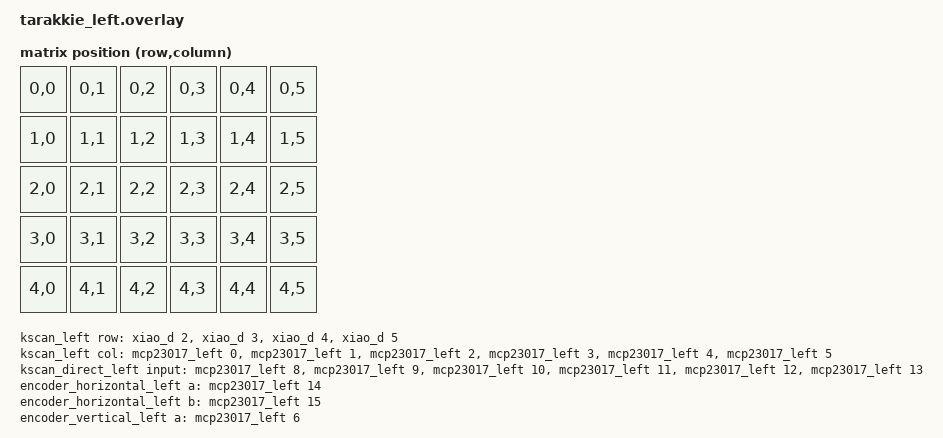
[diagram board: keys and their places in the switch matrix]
/*
 * Copyright (c) 2025
 * SPDX-License-Identifier: MIT
 *
 * Tarakkie Left (Peripheral/Slave)
 * - 30 keys (6x4 matrix + 6 individual keys)
 * - MCP23017 I2C GPIO expander
 * - Horizontal rotary encoder with click
 * - Vertical rotary encoder with click
 */

#include <dt-bindings/zmk/matrix_transform.h>
#include <dt-bindings/gpio/gpio.h>

/ {
    /* ============================================================
     * I2C GPIO Expander (MCP23017)
     * Address: 0x20
     * Usage:
     *   - GPA0~5: Matrix columns (6 columns)
     *   - GPA6~7: Vertical encoder A/B signals
     *   - GPB0~5: Individual keys (6 keys)
     *   - GPB6~7: Horizontal encoder A/B signals
     * ============================================================ */
    
    /* Enable I2C bus */
    &i2c0 {
        status = "okay";
        
        mcp23017_left: mcp23017@20 {
            compatible = "microchip,mcp230xx";
            reg = <0x20>;
            gpio-controller;
            #gpio-cells = <2>;
            ngpios = <16>;
            status = "okay";
        };
    };

    /* ============================================================
     * Key Matrix Scanner
     * - Columns: 6 (MCP23017 GPA0~5)
     * - Rows: 4 (MCU GPIO &xiao_d 2~5)
     * - Diode direction: COL2ROW
     * ============================================================ */
    
    kscan_left: kscan_left {
        compatible = "zmk,kscan-gpio-matrix";
        diode-direction = "col2row";
        wakeup-source;

        col-gpios
            = <&mcp23017_left 0 GPIO_ACTIVE_HIGH>
            , <&mcp23017_left 1 GPIO_ACTIVE_HIGH>
            , <&mcp23017_left 2 GPIO_ACTIVE_HIGH>
            , <&mcp23017_left 3 GPIO_ACTIVE_HIGH>
            , <&mcp23017_left 4 GPIO_ACTIVE_HIGH>
            , <&mcp23017_left 5 GPIO_ACTIVE_HIGH>
            ;

        row-gpios
            = <&xiao_d 2 (GPIO_ACTIVE_HIGH | GPIO_PULL_DOWN)>
            , <&xiao_d 3 (GPIO_ACTIVE_HIGH | GPIO_PULL_DOWN)>
            , <&xiao_d 4 (GPIO_ACTIVE_HIGH | GPIO_PULL_DOWN)>
            , <&xiao_d 5 (GPIO_ACTIVE_HIGH | GPIO_PULL_DOWN)>
            ;
    };

    /* ============================================================
     * Direct GPIO Keys (Individual Keys)
     * - 6 keys connected to MCP23017 GPB0~5
     * ============================================================ */
    
    kscan_direct_left: kscan_direct_left {
        compatible = "zmk,kscan-gpio-direct";
        
        input-gpios
            = <&mcp23017_left 8  (GPIO_ACTIVE_LOW | GPIO_PULL_UP)>
            , <&mcp23017_left 9  (GPIO_ACTIVE_LOW | GPIO_PULL_UP)>
            , <&mcp23017_left 10 (GPIO_ACTIVE_LOW | GPIO_PULL_UP)>
            , <&mcp23017_left 11 (GPIO_ACTIVE_LOW | GPIO_PULL_UP)>
            , <&mcp23017_left 12 (GPIO_ACTIVE_LOW | GPIO_PULL_UP)>
            , <&mcp23017_left 13 (GPIO_ACTIVE_LOW | GPIO_PULL_UP)>
            ;
    };

    /* ============================================================
     * Composite Key Scanner (Matrix + Direct)
     * Combines both matrix and direct keys into one scanner
     * ============================================================ */
    
    kscan_composite_left: kscan_composite_left {
        compatible = "zmk,kscan-composite";
        rows = <5>;
        columns = <6>;
        
        matrix {
            kscan = <&kscan_left>;
        };
        
        direct {
            kscan = <&kscan_direct_left>;
            row-offset = <4>;
            column-offset = <0>;
        };
    };

    /* ============================================================
     * Matrix Transform
     * Maps physical key positions to logical positions
     * Layout: 30 keys total
     *   - 24 matrix keys (6 cols x 4 rows)
     *   - 6 direct keys
     * ============================================================ */
    
    default_transform_left: keymap_transform_left {
        compatible = "zmk,matrix-transform";
        columns = <6>;
        rows = <5>;
        
        map = <
            RC(0,0) RC(0,1) RC(0,2) RC(0,3) RC(0,4) RC(0,5)
            RC(1,0) RC(1,1) RC(1,2) RC(1,3) RC(1,4) RC(1,5)
            RC(2,0) RC(2,1) RC(2,2) RC(2,3) RC(2,4) RC(2,5)
            RC(3,0) RC(3,1) RC(3,2) RC(3,3) RC(3,4) RC(3,5)
            RC(4,0) RC(4,1) RC(4,2) RC(4,3) RC(4,4) RC(4,5)
        >;
    };

    /* ============================================================
     * Horizontal Rotary Encoder (with click)
     * Pins:
     *   - A signal: MCP23017 GPB6
     *   - B signal: MCP23017 GPB7
     *   - Click switch: &xiao_d 6
     * ============================================================ */
    
    encoder_horizontal_left: encoder_horizontal_left {
        compatible = "alps,ec11";
        a-gpios = <&mcp23017_left 14 (GPIO_ACTIVE_HIGH | GPIO_PULL_UP)>;
        b-gpios = <&mcp23017_left 15 (GPIO_ACTIVE_HIGH | GPIO_PULL_UP)>;
        resolution = <4>;
        status = "okay";
    };

    /* ============================================================
     * Vertical Rotary Encoder (with click)
     * Pins:
     *   - A signal: MCP23017 GPA6
     *   - B signal: MCP23017 GPA7
     *   - Click switch: &xiao_d 7
     * ============================================================ */
    
    encoder_vertical_left: encoder_vertical_left {
        compatible = "alps,ec11";
        a-gpios = <&mcp23017_left 6 (GPIO_ACTIVE_HIGH | GPIO_PULL_UP)>;
        b-gpios = <&mcp23017_left 7 (GPIO_ACTIVE_HIGH | GPIO_PULL_UP)>;
        resolution = <4>;
        status = "okay";
    };

    /* ============================================================
     * Physical Layout Definition
     * Required for ZMK Studio and layout selection
     * ============================================================ */
    
    physical_layout_left: physical_layout_left {
        compatible = "zmk,physical-layout";
        display-name = "Tarakkie Left";
        transform = <&default_transform_left>;
        kscan = <&kscan_composite_left>;
    };

    /* ============================================================
     * Chosen Nodes
     * Specify default physical layout and key scanner
     * ============================================================ */
    
    chosen {
        zmk,physical-layout = &physical_layout_left;
        zmk,kscan = <&kscan_composite_left>;
        zmk,matrix-transform = &default_transform_left>;
    };
};
